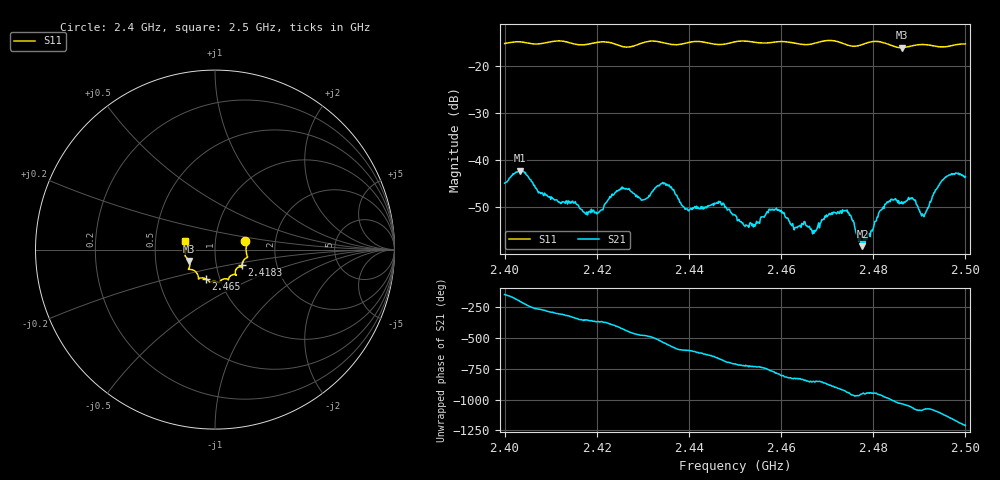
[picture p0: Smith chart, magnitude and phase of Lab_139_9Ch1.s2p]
# Hz S RI R 50
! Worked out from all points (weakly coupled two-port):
!   601 points, 2.4 GHz to 2.5 GHz, reference 50 ohm
!   highest |S21| = -42.20 dB at 2.4033 GHz (marker M1); lowest = -58.2 dB at 2.4777 GHz (marker M2)
!   lowest |S11| = -16.0 dB at 2.4862 GHz (marker M3), VSWR 1.38, Z = 37.1 - j4.83 ohm
!   |S11| at or under -10 dB: start of sweep to end of sweep
!   S12 and S22 are empty: the file has one direction only
!   S11 on the Smith chart (normalised r, x): 2.4 GHz: 1.40, +0.13; 2.4183 GHz: 1.33, -0.24; 2.465 GHz: 0.86, -0.29; 2.5 GHz: 0.71, +0.07
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2.4e9  0.1688 0.0458  -0.0047 -0.00329  0 0  0 0
2.403333e9  0.1796 0.0311  -0.00724 0.00281  0 0  0 0
2.416667e9  0.1549 -0.0683  0.00294 0.00061  0 0  0 0
2.418333e9  0.1497 -0.0867  0.00286 0.000124  0 0  0 0
2.425333e9  0.1311 -0.0975  0.00246 -0.00431  0 0  0 0
2.430167e9  0.1143 -0.138  -0.00179 -0.00338  0 0  0 0
2.433333e9  0.1165 -0.1414  -0.00485 -0.00242  0 0  0 0
2.4395e9  0.0764 -0.1602  -0.00164 0.00258  0 0  0 0
2.446333e9  0.0498 -0.1634  0.00193 0.00291  0 0  0 0
2.45e9  0.0251 -0.1807  0.00257 0.000583  0 0  0 0
2.454e9  0.0139 -0.1806  0.00192 -0.000405  0 0  0 0
2.459167e9  -0.0247 -0.181  0.00115 -0.00272  0 0  0 0
2.465e9  -0.0528 -0.1621  -0.0012 -0.0019  0 0  0 0
2.466667e9  -0.0714 -0.1575  -0.00132 -0.00125  0 0  0 0
2.473833e9  -0.0948 -0.1439  -0.0026 0.00133  0 0  0 0
2.477667e9  -0.1294 -0.1119  -0.000784 0.000943  0 0  0 0
2.483333e9  -0.142 -0.0958  9.9e-06 0.00366  0 0  0 0
2.486167e9  -0.1446 -0.0635  0.00251 0.00264  0 0  0 0
2.488667e9  -0.1611 -0.0423  0.00378 0.00087  0 0  0 0
2.490833e9  -0.1672 -0.0339  0.0026 -8.1e-05  0 0  0 0
2.4955e9  -0.1609 0.0107  0.00453 -0.00464  0 0  0 0
2.5e9  -0.1666 0.0468  -0.00424 -0.00522  0 0  0 0
